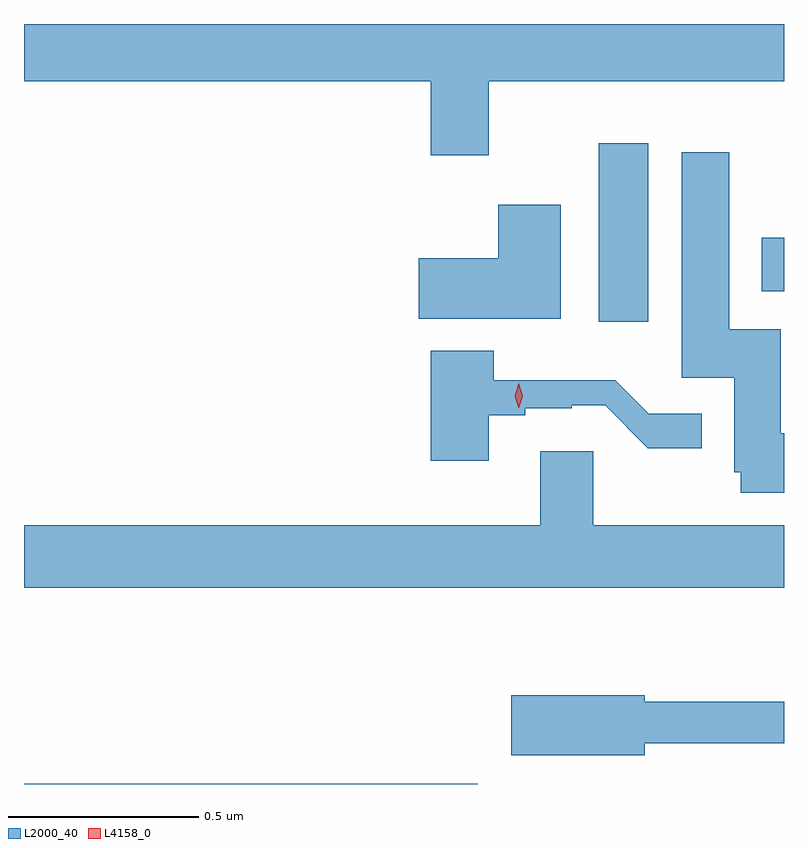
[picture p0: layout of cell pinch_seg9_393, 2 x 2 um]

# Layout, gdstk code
import gdstk
lib = gdstk.Library(unit=1e-6, precision=1e-09)
def R(c, l, rs):  # rectangles x0, y0, x1, y1
    for r in rs: c.add(gdstk.rectangle(r[:2], r[2:], *l))
def P(c, l, *ps):  # polygons
    for p in ps: c.add(gdstk.Polygon(p, *l))
L2000_40 = (2000, 40)
L4158_0 = (4158, 0)

pinch_seg9_393 = lib.new_cell('pinch_seg9_393')
R(pinch_seg9_393, L2000_40, [(382.076,1227.871,383.27,1227.872), (383.588,1229.088,383.719,1229.557), (384.017,1229.168,384.076,1229.308)])
P(pinch_seg9_393, L2000_40, [(384.076,1229.871),(382.076,1229.871),(382.076,1229.72),(383.147,1229.72),(383.147,1229.526),(383.299,1229.526),(383.299,1229.72),(384.076,1229.72)],
  [(384.076,1228.794),(384.067,1228.794),(384.067,1229.068),(383.932,1229.068),(383.932,1229.533),(383.807,1229.533),(383.807,1228.94),(383.945,1228.94),(383.945,1228.692),(383.962,1228.692),(383.962,1228.638),(384.076,1228.638)],
  [(383.488,1229.395),(383.324,1229.395),(383.324,1229.254),(383.115,1229.254),(383.115,1229.096),(383.488,1229.096)],
  [(383.299,1228.842),(383.395,1228.842),(383.395,1228.86),(383.517,1228.86),(383.517,1228.868),(383.605,1228.868),(383.718,1228.755),(383.718,1228.754),(383.86,1228.754),(383.86,1228.845),(383.72,1228.845),(383.632,1228.933),(383.312,1228.933),(383.312,1229.011),(383.147,1229.011),(383.147,1228.722),(383.299,1228.722)],
  [(384.076,1228.552),(383.574,1228.552),(383.574,1228.747),(383.435,1228.747),(383.435,1228.552),(382.076,1228.552),(382.076,1228.388),(384.076,1228.388)],
  [(383.71,1227.978),(384.076,1227.978),(384.076,1228.087),(383.71,1228.087),(383.71,1228.105),(383.358,1228.105),(383.358,1227.947),(383.71,1227.947)])
P(pinch_seg9_393, L4158_0, [(383.378,1228.86),(383.378,1228.86),(383.368,1228.892),(383.378,1228.925),(383.378,1228.925),(383.378,1228.925),(383.388,1228.892),(383.378,1228.86)])

lib.write_gds('pinch_seg9_393.gds')
